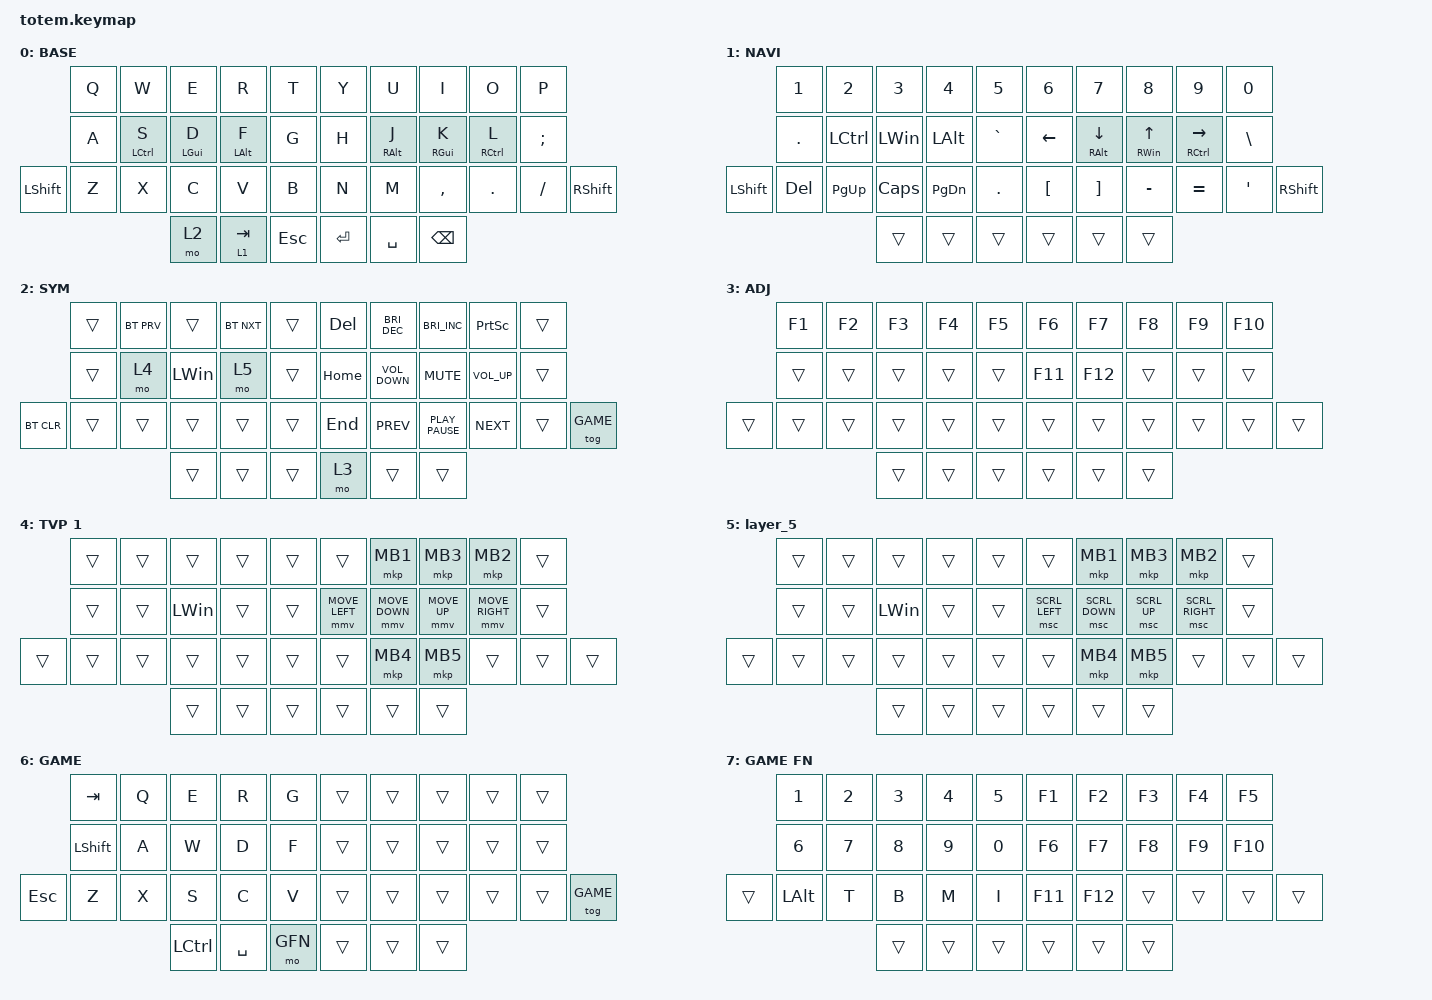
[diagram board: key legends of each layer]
//
//                                                        ▀▀▀▀▀     ▀▀▀▀▀          ▀▀█▀▀
//                                                        ▄▀▀▀▄  ▄  ▄▀▀▀▄  ▄  ▄▀▀▀▄  █  ▄▀▀▀▄
//                                                        █   █  █  █   █  █  █   █  █  █   █
//                                                         ▀▀▀   █   ▀▀▀   █   ▀▀▀   ▀   ▀▀▀
//                                                               █      ▄▄▄█▄▄▄    █   █
//                                                               ▀      █  █  █     █▄█
//                                                             ▀▀▀▀▀    █  █  █      ▀
//                                                                      ▀  ▀  ▀
//
// ▄▄▄▄▄▄▄▄▄▄▄▄▄▄▄▄▄▄▄▄▄▄▄▄▄▄▄▄▄▄▄▄▄▄▄▄▄▄▄▄▄▄▄▄▄▄▄▄▄▄▄▄▄▄▄▄▄▄▄▄▄▄▄▄▄▄▄▄▄▄▄▄▄▄▄▄▄▄▄▄▄▄▄▄▄▄▄▄▄▄▄▄▄▄▄▄▄▄▄▄▄▄▄▄▄▄▄▄▄▄▄▄▄▄▄▄▄▄▄▄▄▄▄▄▄▄▄▄▄▄▄▄▄▄▄▄▄▄▄▄▄▄▄▄▄▄▄▄▄

#define ZMK_POINTING_DEFAULT_MOVE_VAL 1500
#define ZMK_POINTING_DEFAULT_SCRL_VAL 20

#include <behaviors.dtsi>
#include <dt-bindings/zmk/bt.h>
#include <dt-bindings/zmk/keys.h>
#include <dt-bindings/zmk/pointing.h>

#define BASE 0
#define NAV  1
#define SYM  2
#define ADJ  3
#define TVP1 4
#define TVP2 5
#define GAME 6
#define GFN  7

&mt {
    quick-tap-ms = <100>;
    global-quick-tap;
    flavor = "tap-preferred";
    tapping-term-ms = <170>;
};

/ {
    combos { compatible = "zmk,combos"; };

    macros {
        gif: gif {
            label = "giphy";
            compatible = "zmk,behavior-macro";
            #binding-cells = <0>;
            bindings =
                <&macro_press>,
                <&kp LSHFT>,
                <&macro_tap>,
                <&kp N2>,
                <&macro_release>,
                <&kp LSHFT>,
                <&macro_tap>,
                <&kp G &kp I &kp F>;
        };
    };

    keymap {
        compatible = "zmk,keymap";

        // ▄▄▄▄▄▄▄▄▄▄▄▄▄▄▄▄▄▄▄▄▄▄▄▄▄▄▄▄▄▄▄▄▄▄▄▄▄▄▄▄▄▄▄▄▄▄▄▄▄▄▄▄▄▄▄▄▄▄▄▄▄▄▄▄▄▄▄▄▄▄▄▄▄▄▄▄▄▄▄▄▄▄▄▄▄▄▄▄▄▄▄▄▄▄▄▄▄▄▄▄▄▄▄▄▄▄▄▄▄▄▄▄▄▄▄▄▄▄▄▄▄▄▄▄▄▄▄▄▄▄▄▄▄▄▄▄▄▄▄▄▄▄▄▄▄▄▄▄▄

        base_layer {
            // ┏━━━━━━━━━━━━━━━━━━━━━━━━━━━━━━━━━━━━━━━┓

            label = "BASE";

            // ┗━━━━━━━━━━━━━━━━━━━━━━━━━━━━━━━━━━━━━━━┛
            //             ┏━━━━━━━━━━━┳━━━━━━━━━━━┳━━━━━━━━━━━┳━━━━━━━━━━━┳━━━━━━━━━━━┓   ┏━━━━━━━━━━━┳━━━━━━━━━━━┳━━━━━━━━━━━┳━━━━━━━━━━━┳━━━━━━━━━━━┓
            //             ┃     Q     ┃     W     ┃     F     ┃     P     ┃     G     ┃   ┃     J     ┃     L     ┃     U     ┃     Y     ┃     ;     ┃
            //             ┣━━━━━━━━━━━╋━━━━━━━━━━━╋━━━━━━━━━━━╋━━━━━━━━━━━╋━━━━━━━━━━━┫   ┣━━━━━━━━━━━╋━━━━━━━━━━━╋━━━━━━━━━━━╋━━━━━━━━━━━╋━━━━━━━━━━━┫
            //             ┃     A     ┃     R     ┃     S     ┃     T     ┃     D     ┃   ┃     H     ┃     N     ┃     E     ┃     I     ┃     O     ┃
            // ┏━━━━━━━━━━━╋━━━━━━━━━━━╋━━━━━━━━━━━╋━━━━━━━━━━━╋━━━━━━━━━━━╋━━━━━━━━━━━┫   ┣━━━━━━━━━━━╋━━━━━━━━━━━╋━━━━━━━━━━━╋━━━━━━━━━━━╋━━━━━━━━━━━╋━━━━━━━━━━━┓
            // ┃     Q     ┃     Z     ┃     X     ┃     C     ┃     V     ┃     B     ┃   ┃     K     ┃     M     ┃     ,     ┃     .     ┃     /     ┃     \     ┃
            // ┗━━━━━━━━━━━┻━━━━━━━━━━━┻━━━━━━━━━━━╋━━━━━━━━━━━╋━━━━━━━━━━━╋━━━━━━━━━━━┫   ┣━━━━━━━━━━━╋━━━━━━━━━━━╋━━━━━━━━━━━╋━━━━━━━━━━━┻━━━━━━━━━━━┻━━━━━━━━━━━┛
            //                                     ┃    DEL    ┃    TAB    ┃    SPC    ┃   ┃   ENTER   ┃           ┃   BSPC    ┃
            //                                     ┗━━━━━━━━━━━┻━━━━━━━━━━━┻━━━━━━━━━━━┛   ┗━━━━━━━━━━━┻━━━━━━━━━━━┻━━━━━━━━━━━┛

            bindings = <
                &kp Q  &kp W               &kp E           &kp R           &kp T         &kp Y    &kp U            &kp I            &kp O                &kp P
                &kp A  &mt LEFT_CONTROL S  &mt LEFT_GUI D  &mt LEFT_ALT F  &kp G         &kp H    &mt RIGHT_ALT J  &mt RIGHT_GUI K  &mt RIGHT_CONTROL L  &kp SEMICOLON
&kp LEFT_SHIFT  &kp Z  &kp X               &kp C           &kp V           &kp B         &kp N    &kp M            &kp COMMA        &kp DOT              &kp FSLH       &kp RIGHT_SHIFT
                                           &mo 2           &lt 1 TAB       &kp ESCAPE    &kp RET  &kp SPACE        &kp BSPC
            >;
        };

        // ▄▄▄▄▄▄▄▄▄▄▄▄▄▄▄▄▄▄▄▄▄▄▄▄▄▄▄▄▄▄▄▄▄▄▄▄▄▄▄▄▄▄▄▄▄▄▄▄▄▄▄▄▄▄▄▄▄▄▄▄▄▄▄▄▄▄▄▄▄▄▄▄▄▄▄▄▄▄▄▄▄▄▄▄▄▄▄▄▄▄▄▄▄▄▄▄▄▄▄▄▄▄▄▄▄▄▄▄▄▄▄▄▄▄▄▄▄▄▄▄▄▄▄▄▄▄▄▄▄▄▄▄▄▄▄▄▄▄▄▄▄▄▄▄▄▄▄▄▄

        nav_layer {
            // ┏━━━━━━━━━━━━━━━━━━━━━━━━━━━━━━━━━━━━━━━┓

            label = "NAVI";

            // ┗━━━━━━━━━━━━━━━━━━━━━━━━━━━━━━━━━━━━━━━┛
            //             ┏━━━━━━━━━━━┳━━━━━━━━━━━┳━━━━━━━━━━━┳━━━━━━━━━━━┳━━━━━━━━━━━┓   ┏━━━━━━━━━━━┳━━━━━━━━━━━┳━━━━━━━━━━━┳━━━━━━━━━━━┳━━━━━━━━━━━┓
            //             ┃           ┃           ┃     UP    ┃           ┃     {     ┃   ┃     }     ┃     7     ┃     8     ┃     9     ┃     +     ┃
            //             ┣━━━━━━━━━━━╋━━━━━━━━━━━╋━━━━━━━━━━━╋━━━━━━━━━━━╋━━━━━━━━━━━┫   ┣━━━━━━━━━━━╋━━━━━━━━━━━╋━━━━━━━━━━━╋━━━━━━━━━━━╋━━━━━━━━━━━┫
            //             ┃   SHIFT   ┃   LEFT    ┃    DOWN   ┃   RIGHT   ┃     [     ┃   ┃     ]     ┃     4     ┃     5     ┃     6     ┃     -     ┃
            // ┏━━━━━━━━━━━╋━━━━━━━━━━━╋━━━━━━━━━━━╋━━━━━━━━━━━╋━━━━━━━━━━━╋━━━━━━━━━━━┫   ┣━━━━━━━━━━━╋━━━━━━━━━━━╋━━━━━━━━━━━╋━━━━━━━━━━━╋━━━━━━━━━━━╋━━━━━━━━━━━┓
            // ┃           ┃           ┃   P UP    ┃  C LOCK   ┃  P DOWN   ┃     (     ┃   ┃     )     ┃     1     ┃     2     ┃     3     ┃     *     ┃           ┃
            // ┗━━━━━━━━━━━┻━━━━━━━━━━━┻━━━━━━━━━━━╋━━━━━━━━━━━╋━━━━━━━━━━━╋━━━━━━━━━━━┫   ┣━━━━━━━━━━━╋━━━━━━━━━━━╋━━━━━━━━━━━╋━━━━━━━━━━━┻━━━━━━━━━━━┻━━━━━━━━━━━┛
            //                                     ┃           ┃    TAB    ┃    SPC    ┃   ┃    DEL    ┃     0     ┃           ┃
            //                                     ┗━━━━━━━━━━━┻━━━━━━━━━━━┻━━━━━━━━━━━┛   ┗━━━━━━━━━━━┻━━━━━━━━━━━┻━━━━━━━━━━━┛

            bindings = <
                &kp NUMBER_1  &kp NUMBER_2      &kp NUMBER_3  &kp NUMBER_4  &kp NUMBER_5    &kp NUMBER_6      &kp N7                    &kp N8                  &kp N9                   &kp N0
                &kp DOT       &kp LEFT_CONTROL  &kp LEFT_WIN  &kp LEFT_ALT  &kp GRAVE       &kp LEFT_ARROW    &mt RIGHT_ALT DOWN_ARROW  &mt RIGHT_WIN UP_ARROW  &mt RIGHT_CONTROL RIGHT  &kp BACKSLASH
&kp LEFT_SHIFT  &kp DELETE    &kp PG_UP         &kp CAPS      &kp PG_DN     &kp PERIOD      &kp LEFT_BRACKET  &kp RIGHT_BRACKET         &kp MINUS               &kp EQUAL                &kp SINGLE_QUOTE  &kp RIGHT_SHIFT
                                                &trans        &trans        &trans          &trans            &trans                    &trans
            >;
        };

        // ▄▄▄▄▄▄▄▄▄▄▄▄▄▄▄▄▄▄▄▄▄▄▄▄▄▄▄▄▄▄▄▄▄▄▄▄▄▄▄▄▄▄▄▄▄▄▄▄▄▄▄▄▄▄▄▄▄▄▄▄▄▄▄▄▄▄▄▄▄▄▄▄▄▄▄▄▄▄▄▄▄▄▄▄▄▄▄▄▄▄▄▄▄▄▄▄▄▄▄▄▄▄▄▄▄▄▄▄▄▄▄▄▄▄▄▄▄▄▄▄▄▄▄▄▄▄▄▄▄▄▄▄▄▄▄▄▄▄▄▄▄▄▄▄▄▄▄▄▄

        sim_layer {
            // ┏━━━━━━━━━━━━━━━━━━━━━━━━━━━━━━━━━━━━━━━┓

            label = "SYM";

            // ┗━━━━━━━━━━━━━━━━━━━━━━━━━━━━━━━━━━━━━━━┛
            //             ┏━━━━━━━━━━━┳━━━━━━━━━━━┳━━━━━━━━━━━┳━━━━━━━━━━━┳━━━━━━━━━━━┓   ┏━━━━━━━━━━━┳━━━━━━━━━━━┳━━━━━━━━━━━┳━━━━━━━━━━━┳━━━━━━━━━━━┓
            //             ┃     !     ┃     @     ┃     #     ┃     $     ┃     %     ┃   ┃     ˆ     ┃     &     ┃     Ü     ┃     '     ┃     "     ┃
            //             ┣━━━━━━━━━━━╋━━━━━━━━━━━╋━━━━━━━━━━━╋━━━━━━━━━━━╋━━━━━━━━━━━┫   ┣━━━━━━━━━━━╋━━━━━━━━━━━╋━━━━━━━━━━━╋━━━━━━━━━━━╋━━━━━━━━━━━┫
            //             ┃     Ä     ┃           ┃    SZ     ┃           ┃           ┃   ┃   MUTE    ┃   YEN     ┃   EURO    ┃  POUND    ┃     Ö     ┃
            // ┏━━━━━━━━━━━╋━━━━━━━━━━━╋━━━━━━━━━━━╋━━━━━━━━━━━╋━━━━━━━━━━━╋━━━━━━━━━━━┫   ┣━━━━━━━━━━━╋━━━━━━━━━━━╋━━━━━━━━━━━╋━━━━━━━━━━━╋━━━━━━━━━━━╋━━━━━━━━━━━┓
            // ┃           ┃  EMAIL1   ┃  EMAIL2   ┃           ┃           ┃           ┃   ┃   VOL-    ┃   VOL+    ┃   LAST    ┃   NEXT    ┃     \     ┃           ┃
            // ┗━━━━━━━━━━━┻━━━━━━━━━━━┻━━━━━━━━━━━╋━━━━━━━━━━━╋━━━━━━━━━━━╋━━━━━━━━━━━┫   ┣━━━━━━━━━━━╋━━━━━━━━━━━╋━━━━━━━━━━━╋━━━━━━━━━━━┻━━━━━━━━━━━┻━━━━━━━━━━━┛
            //                                     ┃           ┃    GIF    ┃    ADJ    ┃   ┃           ┃           ┃           ┃
            //                                     ┗━━━━━━━━━━━┻━━━━━━━━━━━┻━━━━━━━━━━━┛   ┗━━━━━━━━━━━┻━━━━━━━━━━━┻━━━━━━━━━━━┛

            bindings = <
            &trans  &bt BT_PRV  &trans        &bt BT_NXT  &trans    &kp DELETE  &kp C_BRIGHTNESS_DEC  &kp C_BRIGHTNESS_INC  &kp PRINTSCREEN  &trans
            &trans  &mo 4       &kp LEFT_WIN  &mo 5       &trans    &kp HOME    &kp K_VOLUME_DOWN     &kp K_MUTE            &kp K_VOLUME_UP  &trans
&bt BT_CLR  &trans  &trans      &trans        &trans      &trans    &kp END     &kp K_PREV            &kp K_PLAY_PAUSE      &kp K_NEXT       &trans  &tog GAME
                                &trans        &trans      &trans    &mo 3       &trans                &trans
            >;
        };

        // ▄▄▄▄▄▄▄▄▄▄▄▄▄▄▄▄▄▄▄▄▄▄▄▄▄▄▄▄▄▄▄▄▄▄▄▄▄▄▄▄▄▄▄▄▄▄▄▄▄▄▄▄▄▄▄▄▄▄▄▄▄▄▄▄▄▄▄▄▄▄▄▄▄▄▄▄▄▄▄▄▄▄▄▄▄▄▄▄▄▄▄▄▄▄▄▄▄▄▄▄▄▄▄▄▄▄▄▄▄▄▄▄▄▄▄▄▄▄▄▄▄▄▄▄▄▄▄▄▄▄▄▄▄▄▄▄▄▄▄▄▄▄▄▄▄▄▄▄▄

        adjust_layer {
            // ┏━━━━━━━━━━━━━━━━━━━━━━━━━━━━━━━━━━━━━━━┓

            label = "ADJ";

            // ┗━━━━━━━━━━━━━━━━━━━━━━━━━━━━━━━━━━━━━━━┛
            //             ┏━━━━━━━━━━━┳━━━━━━━━━━━┳━━━━━━━━━━━┳━━━━━━━━━━━┳━━━━━━━━━━━┓   ┏━━━━━━━━━━━┳━━━━━━━━━━━┳━━━━━━━━━━━┳━━━━━━━━━━━┳━━━━━━━━━━━┓
            //             ┃   RESET   ┃ BT CLEAR  ┃  OUT TOG  ┃           ┃           ┃   ┃           ┃    F7     ┃    F8     ┃    F9     ┃    F12    ┃
            //             ┣━━━━━━━━━━━╋━━━━━━━━━━━╋━━━━━━━━━━━╋━━━━━━━━━━━╋━━━━━━━━━━━┫   ┣━━━━━━━━━━━╋━━━━━━━━━━━╋━━━━━━━━━━━╋━━━━━━━━━━━╋━━━━━━━━━━━┫
            //             ┃ BOOTLOAD  ┃ BT NEXT   ┃           ┃           ┃           ┃   ┃           ┃    F4     ┃    F5     ┃    F6     ┃    F11    ┃
            // ┏━━━━━━━━━━━╋━━━━━━━━━━━╋━━━━━━━━━━━╋━━━━━━━━━━━╋━━━━━━━━━━━╋━━━━━━━━━━━┫   ┣━━━━━━━━━━━╋━━━━━━━━━━━╋━━━━━━━━━━━╋━━━━━━━━━━━╋━━━━━━━━━━━╋━━━━━━━━━━━┓
            // ┃           ┃           ┃ BT PREV   ┃           ┃           ┃           ┃   ┃           ┃    F1     ┃    F2     ┃    F3     ┃    F10    ┃           ┃
            // ┗━━━━━━━━━━━┻━━━━━━━━━━━┻━━━━━━━━━━━╋━━━━━━━━━━━╋━━━━━━━━━━━╋━━━━━━━━━━━┫   ┣━━━━━━━━━━━╋━━━━━━━━━━━╋━━━━━━━━━━━╋━━━━━━━━━━━┻━━━━━━━━━━━┻━━━━━━━━━━━┛
            //                                     ┃           ┃           ┃           ┃   ┃           ┃           ┃           ┃
            //                                     ┗━━━━━━━━━━━┻━━━━━━━━━━━┻━━━━━━━━━━━┛   ┗━━━━━━━━━━━┻━━━━━━━━━━━┻━━━━━━━━━━━┛

            bindings = <
        &kp F1  &kp F2  &kp F3  &kp F4  &kp F5    &kp F6   &kp F7   &kp F8  &kp F9  &kp F10
        &trans  &trans  &trans  &trans  &trans    &kp F11  &kp F12  &trans  &trans  &trans
&trans  &trans  &trans  &trans  &trans  &trans    &trans   &trans   &trans  &trans  &trans   &trans
                        &trans  &trans  &trans    &trans   &trans   &trans
            >;
        };

        // ▄▄▄▄▄▄▄▄▄▄▄▄▄▄▄▄▄▄▄▄▄▄▄▄▄▄▄▄▄▄▄▄▄▄▄▄▄▄▄▄▄▄▄▄▄▄▄▄▄▄▄▄▄▄▄▄▄▄▄▄▄▄▄▄▄▄▄▄▄▄▄▄▄▄▄▄▄▄▄▄▄▄▄▄▄▄▄▄▄▄▄▄▄▄▄▄▄▄▄▄▄▄▄▄▄▄▄▄▄▄▄▄▄▄▄▄▄▄▄▄▄▄▄▄▄▄▄▄▄▄▄▄▄▄▄▄▄▄▄▄▄▄▄▄▄▄▄▄▄

        tvp1_layer {
            // ┏━━━━━━━━━━━━━━━━━━━━━━━━━━━━━━━━━━━━━━━┓

            label = "TVP 1";

            // ┗━━━━━━━━━━━━━━━━━━━━━━━━━━━━━━━━━━━━━━━┛
            //             ┏━━━━━━━━━━━┳━━━━━━━━━━━┳━━━━━━━━━━━┳━━━━━━━━━━━┳━━━━━━━━━━━┓   ┏━━━━━━━━━━━┳━━━━━━━━━━━┳━━━━━━━━━━━┳━━━━━━━━━━━┳━━━━━━━━━━━┓
            //             ┃   RESET   ┃ BT CLEAR  ┃  OUT TOG  ┃           ┃           ┃   ┃           ┃    F7     ┃    F8     ┃    F9     ┃    F12    ┃
            //             ┣━━━━━━━━━━━╋━━━━━━━━━━━╋━━━━━━━━━━━╋━━━━━━━━━━━╋━━━━━━━━━━━┫   ┣━━━━━━━━━━━╋━━━━━━━━━━━╋━━━━━━━━━━━╋━━━━━━━━━━━╋━━━━━━━━━━━┫
            //             ┃ BOOTLOAD  ┃ BT NEXT   ┃           ┃           ┃           ┃   ┃           ┃    F4     ┃    F5     ┃    F6     ┃    F11    ┃
            // ┏━━━━━━━━━━━╋━━━━━━━━━━━╋━━━━━━━━━━━╋━━━━━━━━━━━╋━━━━━━━━━━━╋━━━━━━━━━━━┫   ┣━━━━━━━━━━━╋━━━━━━━━━━━╋━━━━━━━━━━━╋━━━━━━━━━━━╋━━━━━━━━━━━╋━━━━━━━━━━━┓
            // ┃           ┃           ┃ BT PREV   ┃           ┃           ┃           ┃   ┃           ┃    F1     ┃    F2     ┃    F3     ┃    F10    ┃           ┃
            // ┗━━━━━━━━━━━┻━━━━━━━━━━━┻━━━━━━━━━━━╋━━━━━━━━━━━╋━━━━━━━━━━━╋━━━━━━━━━━━┫   ┣━━━━━━━━━━━╋━━━━━━━━━━━╋━━━━━━━━━━━╋━━━━━━━━━━━┻━━━━━━━━━━━┻━━━━━━━━━━━┛
            //                                     ┃           ┃           ┃           ┃   ┃           ┃           ┃           ┃
            //                                     ┗━━━━━━━━━━━┻━━━━━━━━━━━┻━━━━━━━━━━━┛   ┗━━━━━━━━━━━┻━━━━━━━━━━━┻━━━━━━━━━━━┛

            bindings = <
        &trans  &trans  &trans        &trans  &trans    &trans          &mkp MB1        &mkp MB3      &mkp MB2         &trans
        &trans  &trans  &kp LEFT_WIN  &trans  &trans    &mmv MOVE_LEFT  &mmv MOVE_DOWN  &mmv MOVE_UP  &mmv MOVE_RIGHT  &trans
&trans  &trans  &trans  &trans        &trans  &trans    &trans          &mkp MB4        &mkp MB5      &trans           &trans  &trans
                        &trans        &trans  &trans    &trans          &trans          &trans
            >;
        };

        // ▄▄▄▄▄▄▄▄▄▄▄▄▄▄▄▄▄▄▄▄▄▄▄▄▄▄▄▄▄▄▄▄▄▄▄▄▄▄▄▄▄▄▄▄▄▄▄▄▄▄▄▄▄▄▄▄▄▄▄▄▄▄▄▄▄▄▄▄▄▄▄▄▄▄▄▄▄▄▄▄▄▄▄▄▄▄▄▄▄▄▄▄▄▄▄▄▄▄▄▄▄▄▄▄▄▄▄▄▄▄▄▄▄▄▄▄▄▄▄▄▄▄▄▄▄▄▄▄▄▄▄▄▄▄▄▄▄▄▄▄▄▄▄▄▄▄▄▄▄

        layer_5 {
            bindings = <
        &trans  &trans  &trans        &trans  &trans    &trans          &mkp MB1        &mkp MB3      &mkp MB2         &trans
        &trans  &trans  &kp LEFT_WIN  &trans  &trans    &msc SCRL_LEFT  &msc SCRL_DOWN  &msc SCRL_UP  &msc SCRL_RIGHT  &trans
&trans  &trans  &trans  &trans        &trans  &trans    &trans          &mkp MB4        &mkp MB5      &trans           &trans  &trans
                        &trans        &trans  &trans    &trans          &trans          &trans
            >;
        };

        // ▄▄▄▄▄▄▄▄▄▄▄▄▄▄▄▄▄▄▄▄▄▄▄▄▄▄▄▄▄▄▄▄▄▄▄▄▄▄▄▄▄▄▄▄▄▄▄▄▄▄▄▄▄▄▄▄▄▄▄▄▄▄▄▄▄▄▄▄▄▄▄▄▄▄▄▄▄▄▄▄▄▄▄▄▄▄▄▄▄▄▄▄▄▄▄▄▄▄▄▄▄▄▄▄▄▄▄▄▄▄▄▄▄▄▄▄▄▄▄▄▄▄▄▄▄▄▄▄▄▄▄▄▄▄▄▄▄▄▄▄▄▄▄▄▄▄▄▄▄

        // Plain keys for games: no home-row mods on the left hand, so holding
        // A/W/D doesn't fire Ctrl/Win/Alt. Movement sits on the home row
        // (A ring, W middle, S middle-bottom, D index). Every left-hand key is
        // explicit so nothing falls through to BASE's mod-taps. Toggled on from
        // SYM (bottom-right outer key) and off with the same key here.
        game_layer {
            label = "GAME";

            bindings = <
            &kp TAB    &kp Q  &kp E  &kp R  &kp G      &trans  &trans  &trans  &trans  &trans
            &kp LSHFT  &kp A  &kp W  &kp D  &kp F      &trans  &trans  &trans  &trans  &trans
&kp ESC     &kp Z      &kp X  &kp S  &kp C  &kp V      &trans  &trans  &trans  &trans  &trans  &tog GAME
                       &kp LCTRL  &kp SPACE  &mo GFN      &trans  &trans  &trans
            >;
        };

        // ▄▄▄▄▄▄▄▄▄▄▄▄▄▄▄▄▄▄▄▄▄▄▄▄▄▄▄▄▄▄▄▄▄▄▄▄▄▄▄▄▄▄▄▄▄▄▄▄▄▄▄▄▄▄▄▄▄▄▄▄▄▄▄▄▄▄▄▄▄▄▄▄▄▄▄▄▄▄▄▄▄▄▄▄▄▄▄▄▄▄▄▄▄▄▄▄▄▄▄▄▄▄▄▄▄▄▄▄▄▄▄▄▄▄▄▄▄▄▄▄▄▄▄▄▄▄▄▄▄▄▄▄▄▄▄▄▄▄▄▄▄▄▄▄▄▄▄▄▄

        // Held from GAME's innermost left thumb: numbers above the movement
        // fingers, occasional game keys below, F-keys on the right.
        game_fn_layer {
            label = "GAME FN";

            bindings = <
            &kp N1    &kp N2  &kp N3  &kp N4  &kp N5      &kp F1   &kp F2   &kp F3  &kp F4  &kp F5
            &kp N6    &kp N7  &kp N8  &kp N9  &kp N0      &kp F6   &kp F7   &kp F8  &kp F9  &kp F10
&trans      &kp LALT  &kp T   &kp B   &kp M   &kp I       &kp F11  &kp F12  &trans  &trans  &trans  &trans
                              &trans  &trans  &trans      &trans   &trans   &trans
            >;
        };
    };
};
